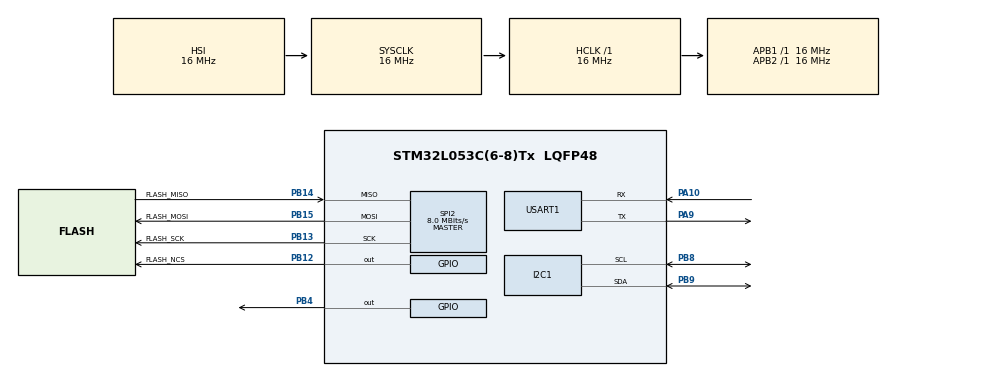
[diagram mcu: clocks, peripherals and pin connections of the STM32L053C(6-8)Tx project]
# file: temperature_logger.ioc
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Dma.Request0=USART1_TX
Dma.USART1_TX.0.Direction=DMA_MEMORY_TO_PERIPH
Dma.USART1_TX.0.Instance=DMA1_Channel2
Dma.USART1_TX.0.MemDataAlignment=DMA_MDATAALIGN_BYTE
Dma.USART1_TX.0.MemInc=DMA_MINC_ENABLE
Dma.USART1_TX.0.Mode=DMA_NORMAL
Dma.USART1_TX.0.PeriphDataAlignment=DMA_PDATAALIGN_BYTE
Dma.USART1_TX.0.PeriphInc=DMA_PINC_DISABLE
Dma.USART1_TX.0.Priority=DMA_PRIORITY_LOW
I2C1.Timing=0x00303D5B
Mcu.Family=STM32L0
Mcu.Name=STM32L053C(6-8)Tx
Mcu.Package=LQFP48
NVIC.DMA1_Channel2_3_IRQn=true\:0\:0\:false\:false\:true\:false\:true\:true
NVIC.USART1_IRQn=true\:0\:0\:false\:false\:true\:true\:true\:true
PA10.Mode=Asynchronous
PA10.Signal=USART1_RX
PA13.Mode=Serial_Wire
PA13.Signal=SYS_SWDIO
PA14.Mode=Serial_Wire
PA14.Signal=SYS_SWCLK
PA9.Mode=Asynchronous
PA9.Signal=USART1_TX
PB12.GPIO_Label=FLASH_NCS
PB12.PinState=GPIO_PIN_SET
PB12.Signal=GPIO_Output
PB13.GPIO_Label=FLASH_SCK
PB13.Mode=Full_Duplex_Master
PB13.Signal=SPI2_SCK
PB14.GPIO_Label=FLASH_MISO
PB14.Mode=Full_Duplex_Master
PB14.Signal=SPI2_MISO
PB15.GPIO_Label=FLASH_MOSI
PB15.Mode=Full_Duplex_Master
PB15.Signal=SPI2_MOSI
PB4.Signal=GPIO_Output
PB8.Mode=I2C
PB8.Signal=I2C1_SCL
PB9.Mode=I2C
PB9.Signal=I2C1_SDA
ProjectManager.HeapSize=0x200
ProjectManager.StackSize=0x400
ProjectManager.TargetToolchain=STM32CubeIDE
RCC.AHBFreq_Value=16000000
RCC.APB1Freq_Value=16000000
RCC.APB1TimFreq_Value=16000000
RCC.APB2Freq_Value=16000000
RCC.APB2TimFreq_Value=16000000
RCC.HCLKFreq_Value=16000000
RCC.HSE_VALUE=8000000
RCC.HSI16_VALUE=16000000
RCC.HSI48_VALUE=48000000
RCC.HSI_VALUE=16000000
RCC.LSE_VALUE=32768
RCC.MSI_VALUE=2097000
RCC.SYSCLKFreq_VALUE=16000000
RCC.SYSCLKSource=RCC_SYSCLKSOURCE_HSI
RCC.VCOOutputFreq_Value=48000000
SPI2.CalculateBaudRate=8.0 MBits/s
SPI2.Direction=SPI_DIRECTION_2LINES
SPI2.Mode=SPI_MODE_MASTER
SPI2.VirtualType=VM_MASTER
USART1.VirtualMode-Asynchronous=VM_ASYNC
VP_RTC_VS_RTC_Activate.Mode=RTC_Enabled
VP_RTC_VS_RTC_Calendar.Mode=RTC_Calendar
board=custom

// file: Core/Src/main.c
/* USER CODE BEGIN Header */
/**
  ******************************************************************************
  * @file           : main.c
  * @brief          : Main program body
  ******************************************************************************
  * @attention
  *
  * Copyright (c) 2023 STMicroelectronics.
  * All rights reserved.
  *
  * This software is licensed under terms that can be found in the LICENSE file
  * in the root directory of this software component.
  * If no LICENSE file comes with this software, it is provided AS-IS.
  *
  ******************************************************************************
  */
/* USER CODE END Header */
#include "main.h"
#include "dma.h"
#include "i2c.h"
#include "rtc.h"
#include "spi.h"
#include "usart.h"
#include "gpio.h"

/* USER CODE BEGIN Includes */
#include "transport_layer.h"
#include "dbg_printf.h"
#include "tmp112.h"
#include "datetime.h"
#include "command_parser.h"
#include "response_generator.h"
#include "storage_manager.h"
/* USER CODE END Includes */

void SystemClock_Config(void);

int main(void)
{

  /* MCU Configuration--------------------------------------------------------*/

  /* Reset of all peripherals, Initializes the Flash interface and the Systick. */
  HAL_Init();

  /* Configure the system clock */
  SystemClock_Config();

  /* Initialize all configured peripherals */
  MX_GPIO_Init();
  MX_DMA_Init();
  MX_USART1_UART_Init();
  MX_I2C1_Init();
  MX_RTC_Init();
  MX_SPI2_Init();
  /* USER CODE BEGIN 2 */
  dbg_printf_init();
  tl_add_tx_data_provider(dbg_printf_is_data_available, dbg_printf_get_data);
  tl_add_tx_data_provider(rg_is_response_ready, rg_read_response);
  tl_init_rx(cmd_parser_submit_data);
  /* USER CODE END 2 */

  /* Infinite loop */
  /* USER CODE BEGIN WHILE */
  while (1)
  {
	  //const datetime dt = get_datetime();

//	  DBG_PRINTF("Temperature: %d\n", tmp112_read_temperature());
//	  DBG_PRINTF("%d:%d:%d:%d:%d:%d\n",
//	  			  dt.date, dt.month, dt.year,
//  			  dt.hour, dt.minute, dt.second);

	  HAL_GPIO_TogglePin(GPIOB, GPIO_PIN_4);
	  tl_poll_for_tx_data();
	  cmd_parser_process_command();
	  HAL_Delay(1000);

	  // sm_chip_erase();
    /* USER CODE END WHILE */

  }
}

void SystemClock_Config(void)
{
  RCC_OscInitTypeDef RCC_OscInitStruct = {0};
  RCC_ClkInitTypeDef RCC_ClkInitStruct = {0};
  RCC_PeriphCLKInitTypeDef PeriphClkInit = {0};

  /** Configure the main internal regulator output voltage
  */
  __HAL_PWR_VOLTAGESCALING_CONFIG(PWR_REGULATOR_VOLTAGE_SCALE1);

  /** Initializes the RCC Oscillators according to the specified parameters
  * in the RCC_OscInitTypeDef structure.
  */
  RCC_OscInitStruct.OscillatorType = RCC_OSCILLATORTYPE_HSI|RCC_OSCILLATORTYPE_LSI;
  RCC_OscInitStruct.HSIState = RCC_HSI_ON;
  RCC_OscInitStruct.HSICalibrationValue = RCC_HSICALIBRATION_DEFAULT;
  RCC_OscInitStruct.LSIState = RCC_LSI_ON;
  RCC_OscInitStruct.PLL.PLLState = RCC_PLL_NONE;
  if (HAL_RCC_OscConfig(&RCC_OscInitStruct) != HAL_OK)
  {
    Error_Handler();
  }

  /** Initializes the CPU, AHB and APB buses clocks
  */
  RCC_ClkInitStruct.ClockType = RCC_CLOCKTYPE_HCLK|RCC_CLOCKTYPE_SYSCLK
                              |RCC_CLOCKTYPE_PCLK1|RCC_CLOCKTYPE_PCLK2;
  RCC_ClkInitStruct.SYSCLKSource = RCC_SYSCLKSOURCE_HSI;
  RCC_ClkInitStruct.AHBCLKDivider = RCC_SYSCLK_DIV1;
  RCC_ClkInitStruct.APB1CLKDivider = RCC_HCLK_DIV1;
  RCC_ClkInitStruct.APB2CLKDivider = RCC_HCLK_DIV1;

  if (HAL_RCC_ClockConfig(&RCC_ClkInitStruct, FLASH_LATENCY_0) != HAL_OK)
  {
    Error_Handler();
  }
  PeriphClkInit.PeriphClockSelection = RCC_PERIPHCLK_USART1|RCC_PERIPHCLK_I2C1
                              |RCC_PERIPHCLK_RTC;
  PeriphClkInit.Usart1ClockSelection = RCC_USART1CLKSOURCE_PCLK2;
  PeriphClkInit.I2c1ClockSelection = RCC_I2C1CLKSOURCE_PCLK1;
  PeriphClkInit.RTCClockSelection = RCC_RTCCLKSOURCE_LSI;
  if (HAL_RCCEx_PeriphCLKConfig(&PeriphClkInit) != HAL_OK)
  {
    Error_Handler();
  }
}

void Error_Handler(void)
{
  __disable_irq();
  while (1)
  {
  }
}
